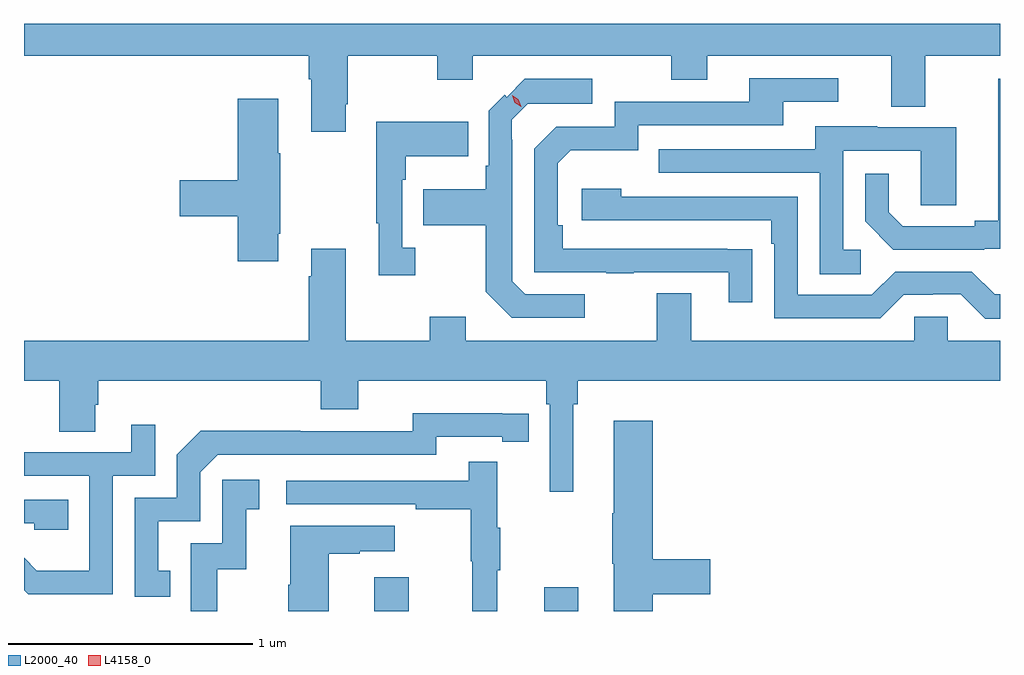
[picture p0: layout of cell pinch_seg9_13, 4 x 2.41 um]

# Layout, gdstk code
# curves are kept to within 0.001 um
import gdstk
lib = gdstk.Library(unit=1e-6, precision=1e-09)
def R(c, l, rs):  # rectangles x0, y0, x1, y1
    for r in rs: c.add(gdstk.rectangle(r[:2], r[2:], *l))
def P(c, l, *ps):  # polygons
    for p in ps: c.add(gdstk.Polygon(p, *l))
L2000_40 = (2000, 40)
L4158_0 = (4158, 0)

pinch_seg9_13 = lib.new_cell('pinch_seg9_13')
R(pinch_seg9_13, L2000_40, [(1103.861,1246.091,1104.001,1246.231), (1104.557,1246.091,1104.697,1246.189)])
P(pinch_seg9_13, L2000_40, [(1102.425,1248.368),(1103.591,1248.368),(1103.591,1248.272),(1103.603,1248.272),(1103.603,1248.057),(1103.743,1248.057),(1103.743,1248.169),(1103.751,1248.169),(1103.751,1248.368),(1104.118,1248.368),(1104.118,1248.269),(1104.265,1248.269),(1104.265,1248.368),(1105.078,1248.368),(1105.078,1248.269),(1105.225,1248.269),(1105.225,1248.368),(1105.979,1248.368),(1105.979,1248.16),(1106.119,1248.16),(1106.119,1248.368),(1106.425,1248.368),(1106.425,1248.5),(1102.425,1248.5)],
  [(1105.409,1247.576),(1104.632,1247.577),(1104.632,1247.674),(1104.612,1247.674),(1104.612,1247.928),(1104.665,1247.981),(1104.942,1247.981),(1104.942,1248.084),(1105.537,1248.084),(1105.537,1248.18),(1105.762,1248.18),(1105.762,1248.276),(1105.397,1248.276),(1105.397,1248.18),(1104.846,1248.18),(1104.846,1248.078),(1104.606,1248.078),(1104.516,1247.988),(1104.516,1247.481),(1104.811,1247.481),(1104.811,1247.476),(1104.923,1247.476),(1104.923,1247.481),(1105.313,1247.481),(1105.313,1247.358),(1105.409,1247.358)],
  [(1106.36,1247.577),(1106.425,1247.577),(1106.425,1248.273),(1106.417,1248.273),(1106.417,1247.693),(1106.321,1247.693),(1106.321,1247.67),(1106.026,1247.67),(1105.969,1247.727),(1105.969,1247.884),(1105.872,1247.884),(1105.872,1247.69),(1105.988,1247.574),(1106.36,1247.574)],
  [(1104.724,1247.391),(1104.48,1247.391),(1104.426,1247.445),(1104.426,1248.023),(1104.423,1248.023),(1104.423,1248.105),(1104.489,1248.171),(1104.754,1248.171),(1104.754,1248.273),(1104.478,1248.273),(1104.404,1248.199),(1104.396,1248.208),(1104.33,1248.142),(1104.33,1247.917),(1104.318,1247.917),(1104.318,1247.821),(1104.061,1247.821),(1104.061,1247.674),(1104.318,1247.674),(1104.318,1247.401),(1104.423,1247.295),(1104.724,1247.295)],
  [(1103.467,1247.638),(1103.475,1247.638),(1103.475,1247.969),(1103.467,1247.969),(1103.467,1248.193),(1103.3,1248.193),(1103.3,1247.858),(1103.064,1247.858),(1103.064,1247.711),(1103.3,1247.711),(1103.3,1247.526),(1103.467,1247.526)],
  [(1104.028,1247.582),(1103.976,1247.582),(1103.976,1247.861),(1103.989,1247.861),(1103.989,1247.957),(1104.245,1247.957),(1104.245,1248.097),(1103.868,1248.097),(1103.868,1247.681),(1103.879,1247.681),(1103.879,1247.469),(1104.028,1247.469)],
  [(1105.855,1247.574),(1105.782,1247.574),(1105.782,1247.979),(1106.1,1247.979),(1106.1,1247.755),(1106.245,1247.755),(1106.245,1248.075),(1105.921,1248.075),(1105.921,1248.079),(1105.667,1248.079),(1105.667,1247.985),(1105.027,1247.985),(1105.027,1247.889),(1105.686,1247.889),(1105.686,1247.473),(1105.855,1247.473)],
  [(1106.425,1247.391),(1106.403,1247.391),(1106.31,1247.484),(1105.995,1247.484),(1105.899,1247.388),(1105.596,1247.388),(1105.596,1247.79),(1104.872,1247.79),(1104.872,1247.824),(1104.711,1247.824),(1104.711,1247.694),(1105.487,1247.694),(1105.487,1247.597),(1105.5,1247.597),(1105.5,1247.292),(1105.935,1247.292),(1106.031,1247.388),(1106.15,1247.388),(1106.15,1247.391),(1106.265,1247.391),(1106.365,1247.291),(1106.425,1247.291)],
  [(1104.676,1246.94),(1104.695,1246.94),(1104.695,1247.036),(1106.425,1247.036),(1106.425,1247.2),(1106.211,1247.2),(1106.211,1247.298),(1106.073,1247.298),(1106.073,1247.2),(1105.159,1247.2),(1105.159,1247.395),(1105.019,1247.395),(1105.019,1247.2),(1104.235,1247.2),(1104.235,1247.299),(1104.088,1247.299),(1104.088,1247.2),(1103.743,1247.2),(1103.743,1247.578),(1103.603,1247.578),(1103.603,1247.465),(1103.591,1247.465),(1103.591,1247.2),(1102.425,1247.2),(1102.425,1247.036),(1102.57,1247.036),(1102.57,1246.828),(1102.717,1246.828),(1102.717,1246.938),(1102.73,1246.938),(1102.73,1247.036),(1103.642,1247.036),(1103.642,1246.919),(1103.794,1246.919),(1103.794,1247.036),(1104.566,1247.036),(1104.566,1246.94),(1104.579,1246.94),(1104.579,1246.581),(1104.676,1246.581)],
  [(1103.024,1246.257),(1102.975,1246.257),(1102.975,1246.461),(1103.148,1246.461),(1103.148,1246.662),(1103.22,1246.734),(1104.114,1246.734),(1104.114,1246.806),(1104.386,1246.806),(1104.386,1246.786),(1104.494,1246.786),(1104.494,1246.902),(1104.018,1246.903),(1104.018,1246.83),(1103.558,1246.83),(1103.558,1246.832),(1103.15,1246.832),(1103.052,1246.734),(1103.052,1246.557),(1102.878,1246.557),(1102.878,1246.152),(1103.024,1246.152)],
  [(1105.001,1246.162),(1105.237,1246.162),(1105.237,1246.304),(1105.001,1246.304),(1105.001,1246.873),(1104.842,1246.873),(1104.842,1246.493),(1104.835,1246.493),(1104.835,1246.287),(1104.842,1246.287),(1104.842,1246.091),(1105.001,1246.091)],
  [(1102.788,1246.647),(1102.962,1246.647),(1102.962,1246.855),(1102.865,1246.855),(1102.865,1246.743),(1102.425,1246.743),(1102.425,1246.647),(1102.692,1246.647),(1102.692,1246.258),(1102.478,1246.258),(1102.425,1246.311),(1102.425,1246.178),(1102.442,1246.161),(1102.788,1246.161)],
  [(1104.365,1246.259),(1104.376,1246.259),(1104.376,1246.433),(1104.365,1246.433),(1104.365,1246.705),(1104.247,1246.705),(1104.247,1246.626),(1103.499,1246.626),(1103.499,1246.53),(1104.031,1246.53),(1104.031,1246.51),(1104.255,1246.51),(1104.255,1246.296),(1104.262,1246.296),(1104.262,1246.091),(1104.365,1246.091)],
  [(1103.218,1246.263),(1103.336,1246.263),(1103.336,1246.509),(1103.389,1246.509),(1103.389,1246.63),(1103.238,1246.63),(1103.238,1246.371),(1103.109,1246.371),(1103.109,1246.091),(1103.218,1246.091)],
  [(1102.607,1246.548),(1102.425,1246.548),(1102.425,1246.452),(1102.467,1246.452),(1102.467,1246.425),(1102.607,1246.425)],
  [(1103.674,1246.327),(1103.801,1246.327),(1103.801,1246.337),(1103.944,1246.337),(1103.944,1246.441),(1103.516,1246.441),(1103.516,1246.201),(1103.509,1246.201),(1103.509,1246.091),(1103.674,1246.091)])
P(pinch_seg9_13, L4158_0, [(1104.462,1248.159),(1104.436,1248.176),(1104.425,1248.206),(1104.425,1248.206),(1104.425,1248.206),(1104.451,1248.189),(1104.462,1248.16),(1104.462,1248.159)])

lib.write_gds('pinch_seg9_13.gds')
